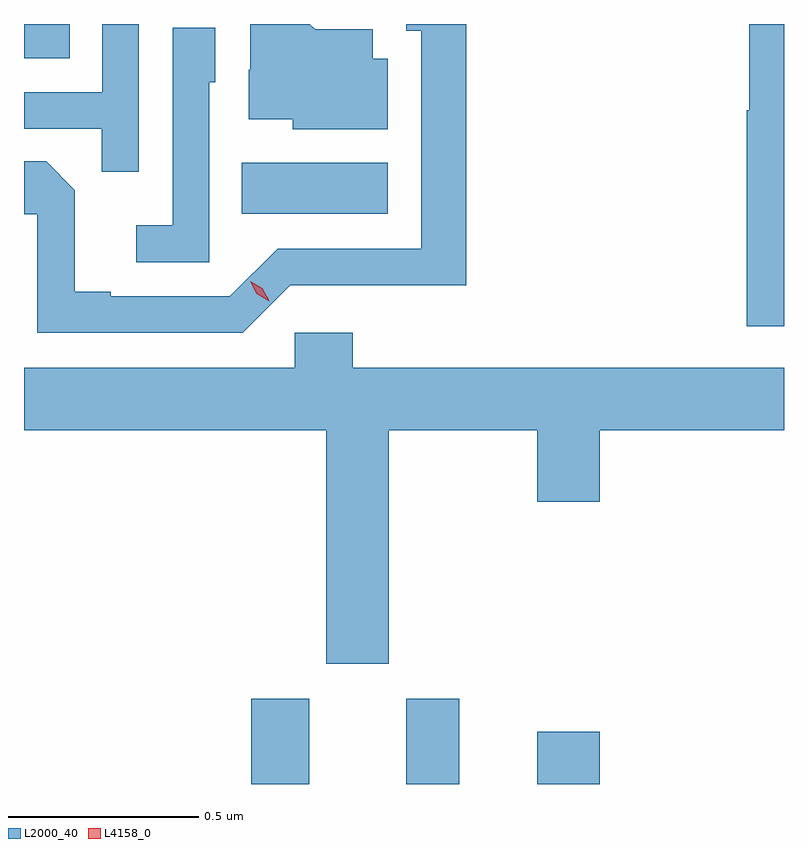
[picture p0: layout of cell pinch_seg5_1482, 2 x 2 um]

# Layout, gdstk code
import gdstk
lib = gdstk.Library(unit=1e-6, precision=1e-09)
def R(c, l, rs):  # rectangles x0, y0, x1, y1
    for r in rs: c.add(gdstk.rectangle(r[:2], r[2:], *l))
def P(c, l, *ps):  # polygons
    for p in ps: c.add(gdstk.Polygon(p, *l))
L2000_40 = (2000, 40)
L4158_0 = (4158, 0)

pinch_seg5_1482 = lib.new_cell('pinch_seg5_1482')
R(pinch_seg5_1482, L2000_40, [(140.279,877.141,140.431,877.366), (140.687,877.141,140.827,877.366), (141.032,877.141,141.196,877.279), (140.254,878.642,140.638,878.776), (139.681,879.051,139.802,879.141)])
P(pinch_seg5_1482, L2000_40, [(141.681,879.141),(141.59,879.141),(141.59,878.914),(141.583,878.914),(141.583,878.346),(141.681,878.346)],
  [(139.983,879.141),(139.887,879.141),(139.887,878.961),(139.681,878.961),(139.681,878.865),(139.885,878.865),(139.885,878.752),(139.983,878.752)],
  [(140.638,879.049),(140.599,879.049),(140.599,879.127),(140.447,879.127),(140.433,879.141),(140.277,879.141),(140.277,879.02),(140.273,879.02),(140.273,878.891),(140.388,878.891),(140.388,878.864),(140.638,878.864)],
  [(140.382,878.454),(140.604,878.454),(140.604,878.453),(140.845,878.453),(140.845,879.141),(140.687,879.141),(140.687,879.123),(140.726,879.123),(140.726,878.55),(140.349,878.55),(140.223,878.424),(139.909,878.424),(139.909,878.437),(139.815,878.437),(139.815,878.704),(139.739,878.78),(139.681,878.78),(139.681,878.64),(139.716,878.64),(139.716,878.328),(140.256,878.328)],
  [(140.169,878.988),(140.184,878.988),(140.184,879.131),(140.073,879.131),(140.073,878.611),(139.977,878.611),(139.977,878.514),(140.169,878.514)],
  [(140.641,878.072),(141.032,878.072),(141.032,877.884),(141.196,877.884),(141.196,878.072),(141.681,878.072),(141.681,878.236),(140.546,878.236),(140.546,878.329),(140.394,878.329),(140.394,878.236),(139.681,878.236),(139.681,878.072),(140.477,878.072),(140.477,877.458),(140.641,877.458)])
P(pinch_seg5_1482, L4158_0, [(140.326,878.412),(140.294,878.431),(140.276,878.464),(140.276,878.464),(140.276,878.464),(140.308,878.445),(140.326,878.413),(140.326,878.412)])

lib.write_gds('pinch_seg5_1482.gds')
